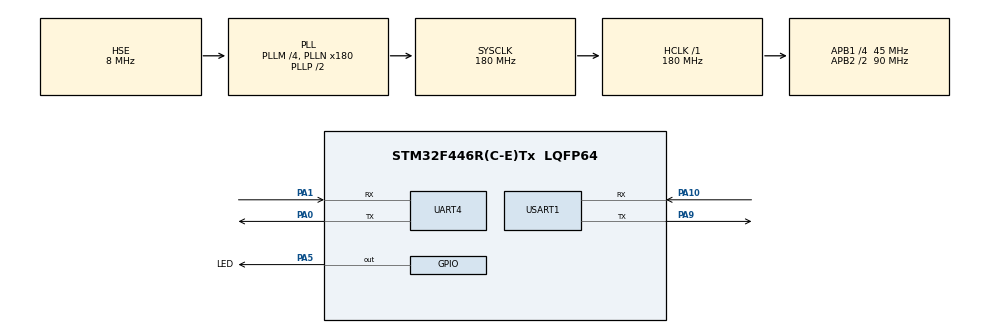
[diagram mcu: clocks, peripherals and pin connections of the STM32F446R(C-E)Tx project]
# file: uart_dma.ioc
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Dma.Request0=UART4_RX
Dma.UART4_RX.0.Direction=DMA_PERIPH_TO_MEMORY
Dma.UART4_RX.0.FIFOMode=DMA_FIFOMODE_DISABLE
Dma.UART4_RX.0.Instance=DMA1_Stream2
Dma.UART4_RX.0.MemDataAlignment=DMA_MDATAALIGN_BYTE
Dma.UART4_RX.0.MemInc=DMA_MINC_ENABLE
Dma.UART4_RX.0.Mode=DMA_CIRCULAR
Dma.UART4_RX.0.PeriphDataAlignment=DMA_PDATAALIGN_BYTE
Dma.UART4_RX.0.PeriphInc=DMA_PINC_DISABLE
Dma.UART4_RX.0.Priority=DMA_PRIORITY_LOW
Mcu.Family=STM32F4
Mcu.Name=STM32F446R(C-E)Tx
Mcu.Package=LQFP64
NVIC.DMA1_Stream2_IRQn=true\:0\:0\:false\:false\:true\:false\:true\:true
NVIC.PriorityGroup=NVIC_PRIORITYGROUP_0
NVIC.TIM2_IRQn=true\:0\:0\:false\:false\:true\:true\:true\:true
NVIC.UART4_IRQn=true\:0\:0\:false\:false\:true\:true\:true\:true
PA0-WKUP.Mode=Asynchronous
PA0-WKUP.Signal=UART4_TX
PA1.Mode=Asynchronous
PA1.Signal=UART4_RX
PA10.Mode=Asynchronous
PA10.Signal=USART1_RX
PA13.Mode=Serial_Wire
PA13.Signal=SYS_JTMS-SWDIO
PA14.Mode=Serial_Wire
PA14.Signal=SYS_JTCK-SWCLK
PA5.GPIO_Label=LED
PA5.Signal=GPIO_Output
PA9.Mode=Asynchronous
PA9.Signal=USART1_TX
PH0-OSC_IN.Mode=HSE-External-Oscillator
PH0-OSC_IN.Signal=RCC_OSC_IN
PH1-OSC_OUT.Mode=HSE-External-Oscillator
PH1-OSC_OUT.Signal=RCC_OSC_OUT
ProjectManager.HeapSize=0x200
ProjectManager.StackSize=0x400
ProjectManager.TargetToolchain=Makefile
RCC.AHBFreq_Value=180000000
RCC.APB1CLKDivider=RCC_HCLK_DIV4
RCC.APB1Freq_Value=45000000
RCC.APB1TimFreq_Value=90000000
RCC.APB2CLKDivider=RCC_HCLK_DIV2
RCC.APB2Freq_Value=90000000
RCC.APB2TimFreq_Value=180000000
RCC.CortexFreq_Value=180000000
RCC.FLatency-AdvancedSettings=FLASH_LATENCY_5
RCC.HCLKFreq_Value=180000000
RCC.HSE_VALUE=8000000
RCC.HSI_VALUE=16000000
RCC.LSE_VALUE=32768
RCC.PLLM=4
RCC.PLLN=180
RCC.PLLSourceVirtual=RCC_PLLSOURCE_HSE
RCC.SYSCLKFreq_VALUE=180000000
RCC.SYSCLKSource=RCC_SYSCLKSOURCE_PLLCLK
RCC.USBFreq_Value=180000000
RCC.VCOOutputFreq_Value=360000000
TIM2.Period=29999
TIM2.Prescaler=899
UART4.VirtualMode=Asynchronous
USART1.VirtualMode=VM_ASYNC
VP_TIM2_VS_ClockSourceINT.Mode=Internal
board=NUCLEO-F446RE

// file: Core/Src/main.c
/* USER CODE BEGIN Header */
/**
  ******************************************************************************
  * @file           : main.c
  * @brief          : Main program body
  ******************************************************************************
  * @attention
  *
  * Copyright (c) 2025 STMicroelectronics.
  * All rights reserved.
  *
  * This software is licensed under terms that can be found in the LICENSE file
  * in the root directory of this software component.
  * If no LICENSE file comes with this software, it is provided AS-IS.
  *
  ******************************************************************************
  */
/* USER CODE END Header */
#include "main.h"
#include "dma.h"
#include "tim.h"
#include "usart.h"
#include "gpio.h"

/* USER CODE BEGIN Includes */
#include <stdio.h>
#include <string.h>
/* USER CODE END Includes */

/* USER CODE BEGIN PD */
#define BUFFER_SIZE 64
/* USER CODE END PD */

/* USER CODE BEGIN PV */
char transmit_buffer[BUFFER_SIZE];
char receive_buffer[BUFFER_SIZE];
uint8_t dma_buffer[BUFFER_SIZE];
/* USER CODE END PV */

void SystemClock_Config(void);

/* USER CODE BEGIN 0 */
void HAL_TIM_PeriodElapsedCallBack(TIM_HandleTypeDef *htim) {
  if (htim->Instance == TIM2) {
    HAL_GPIO_WritePin(LED_GPIO_Port, LED_Pin, GPIO_PIN_RESET);
    HAL_TIM_Base_Stop(&htim2);
  }
}

void led_flash() {
  HAL_GPIO_WritePin(LED_GPIO_Port, LED_Pin, GPIO_PIN_SET);
  if (__HAL_TIM_GET_COUNTER(&htim2) == 1) {
    HAL_TIM_Base_Start_IT(&htim2);
  } else {
    __HAL_TIM_SET_COUNTER(&htim2, 1);
  }
}

void process_character(char ch) {
  static uint16_t len = 0;
  switch(ch) {
    case '\0':
      receive_buffer[0] = '\0';
      len = 0;
      break;
    default:
      if (len < BUFFER_SIZE) {
        strncat((char*) &receive_buffer, &ch, 1);
        len++;
      }
  }
}

void HAL_UARTEx_RxEventCallback(UART_HandleTypeDef *huart, uint16_t offset) {
  static uint16_t last_offset = 0;
  led_flash();

  // ignore if called twice
  if (offset != last_offset) {

    // if wrap around reset
    if (offset < last_offset) {
      last_offset = 0;
    }

    while (last_offset < offset) {
      process_character((char) dma_buffer[last_offset]);
      last_offset++;
    }
  }
}

void HAL_UART_ErrorCallback(UART_HandleTypeDef *huart) {
  Error_Handler();
}
/* USER CODE END 0 */

int main(void)
{

  /* MCU Configuration--------------------------------------------------------*/

  /* Reset of all peripherals, Initializes the Flash interface and the Systick. */
  HAL_Init();

  /* Configure the system clock */
  SystemClock_Config();

  /* Initialize all configured peripherals */
  MX_GPIO_Init();
  MX_DMA_Init();
  MX_UART4_Init();
  MX_USART1_UART_Init();
  MX_TIM2_Init();
  /* USER CODE BEGIN 2 */
  HAL_UARTEx_ReceiveToIdle_DMA(&huart4, (uint8_t*) &dma_buffer, BUFFER_SIZE);
  /* USER CODE END 2 */

  /* Infinite loop */
  /* USER CODE BEGIN WHILE */
  uint32_t now = 0, next_tx = 1000, tx_cnt = 1;
  while (1)
  {
    now = uwTick;

    if (now >= next_tx) {
      sprintf(transmit_buffer, "Hello! this is a message sent using uart, tx_cnt: %lu", tx_cnt);

      HAL_UART_Transmit(&huart1, (uint8_t*) &transmit_buffer, strlen(transmit_buffer)+1, HAL_MAX_DELAY);

      tx_cnt++;
      next_tx = now + 1000;
    }
    /* USER CODE END WHILE */

  }
}

void SystemClock_Config(void)
{
  RCC_OscInitTypeDef RCC_OscInitStruct = {0};
  RCC_ClkInitTypeDef RCC_ClkInitStruct = {0};

  /** Configure the main internal regulator output voltage
  */
  __HAL_RCC_PWR_CLK_ENABLE();
  __HAL_PWR_VOLTAGESCALING_CONFIG(PWR_REGULATOR_VOLTAGE_SCALE1);

  /** Initializes the RCC Oscillators according to the specified parameters
  * in the RCC_OscInitTypeDef structure.
  */
  RCC_OscInitStruct.OscillatorType = RCC_OSCILLATORTYPE_HSE;
  RCC_OscInitStruct.HSEState = RCC_HSE_ON;
  RCC_OscInitStruct.PLL.PLLState = RCC_PLL_ON;
  RCC_OscInitStruct.PLL.PLLSource = RCC_PLLSOURCE_HSE;
  RCC_OscInitStruct.PLL.PLLM = 4;
  RCC_OscInitStruct.PLL.PLLN = 180;
  RCC_OscInitStruct.PLL.PLLP = RCC_PLLP_DIV2;
  RCC_OscInitStruct.PLL.PLLQ = 2;
  RCC_OscInitStruct.PLL.PLLR = 2;
  if (HAL_RCC_OscConfig(&RCC_OscInitStruct) != HAL_OK)
  {
    Error_Handler();
  }

  /** Activate the Over-Drive mode
  */
  if (HAL_PWREx_EnableOverDrive() != HAL_OK)
  {
    Error_Handler();
  }

  /** Initializes the CPU, AHB and APB buses clocks
  */
  RCC_ClkInitStruct.ClockType = RCC_CLOCKTYPE_HCLK|RCC_CLOCKTYPE_SYSCLK
                              |RCC_CLOCKTYPE_PCLK1|RCC_CLOCKTYPE_PCLK2;
  RCC_ClkInitStruct.SYSCLKSource = RCC_SYSCLKSOURCE_PLLCLK;
  RCC_ClkInitStruct.AHBCLKDivider = RCC_SYSCLK_DIV1;
  RCC_ClkInitStruct.APB1CLKDivider = RCC_HCLK_DIV4;
  RCC_ClkInitStruct.APB2CLKDivider = RCC_HCLK_DIV2;

  if (HAL_RCC_ClockConfig(&RCC_ClkInitStruct, FLASH_LATENCY_5) != HAL_OK)
  {
    Error_Handler();
  }
}

void Error_Handler(void)
{
  __disable_irq();
  while (1)
  {
  }
}
